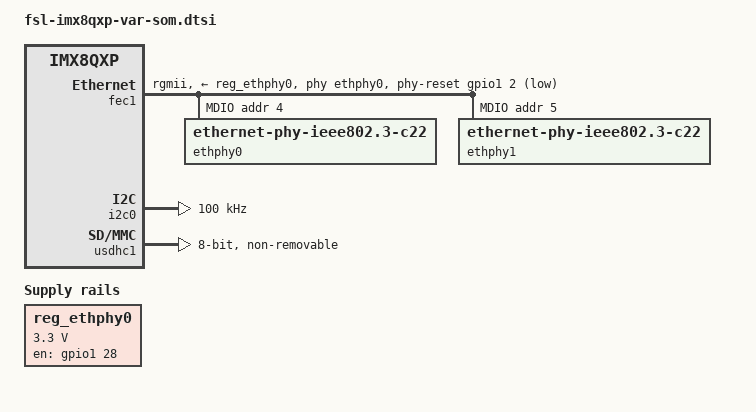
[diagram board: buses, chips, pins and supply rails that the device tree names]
// SPDX-License-Identifier: GPL-2.0+
/*
 * Copyright 2017-2018 NXP
 * Copyright 2019-2020 Variscite Ltd.
 */

/dts-v1/;

#include "fsl-imx8qxp.dtsi"

/ {
	regulators {
		compatible = "simple-bus";
		#address-cells = <1>;
		#size-cells = <0>;

		reg_ethphy0: regulator-ethphy0 {
			compatible = "regulator-fixed";
			regulator-name = "reg_ethphy0";
			regulator-min-microvolt = <3300000>;
			regulator-max-microvolt = <3300000>;
			gpio = <&gpio1 28 GPIO_ACTIVE_HIGH>;
			enable-active-high;
			regulator-off-in-suspend;
		};
	};
};

&A35_0 {
	u-boot,dm-pre-reloc;
};

&fec1 {
	pinctrl-names = "default";
	pinctrl-0 = <&pinctrl_fec1>;
	phy-mode = "rgmii";
	phy-handle = <&ethphy0>;
	fsl,ar8031-phy-fixup;
	fsl,magic-packet;
	status = "okay";
	phy-supply = <&reg_ethphy0>;
	phy-reset-gpios = <&gpio1 2 GPIO_ACTIVE_LOW>;

	mdio {
		#address-cells = <1>;
		#size-cells = <0>;

		ethphy0: ethernet-phy@4 {
			compatible = "ethernet-phy-ieee802.3-c22";
			reg = <4>;
		};
		ethphy1: ethernet-phy@5 {
			compatible = "ethernet-phy-ieee802.3-c22";
			reg = <5>;
		};
	};
};

&i2c0 {
	clock-frequency = <100000>;
	pinctrl-names = "default";
	pinctrl-0 = <&pinctrl_lpi2c0>;
	status = "okay";
};

&iomuxc {
	pinctrl-names = "default";
	pinctrl-0 = <&pinctrl_hog>;

	imx8qxp-var-som {
		pinctrl_fec1: fec1grp {
			fsl,pins = <
				SC_P_COMP_CTL_GPIO_1V8_3V3_ENET_ENETB0_PAD	0x000014a0
				SC_P_COMP_CTL_GPIO_1V8_3V3_ENET_ENETB1_PAD	0x000014a0
				SC_P_ENET0_MDC_CONN_ENET0_MDC			0x06000020
				SC_P_ENET0_MDIO_CONN_ENET0_MDIO			0x06000020
				SC_P_ENET0_RGMII_TX_CTL_CONN_ENET0_RGMII_TX_CTL	0x00000061
				SC_P_ENET0_RGMII_TXC_CONN_ENET0_RGMII_TXC	0x00000061
				SC_P_ENET0_RGMII_TXD0_CONN_ENET0_RGMII_TXD0	0x00000061
				SC_P_ENET0_RGMII_TXD1_CONN_ENET0_RGMII_TXD1	0x00000061
				SC_P_ENET0_RGMII_TXD2_CONN_ENET0_RGMII_TXD2	0x00000061
				SC_P_ENET0_RGMII_TXD3_CONN_ENET0_RGMII_TXD3	0x00000061
				SC_P_ENET0_RGMII_RXC_CONN_ENET0_RGMII_RXC	0x00000061
				SC_P_ENET0_RGMII_RX_CTL_CONN_ENET0_RGMII_RX_CTL	0x00000061
				SC_P_ENET0_RGMII_RXD0_CONN_ENET0_RGMII_RXD0	0x00000061
				SC_P_ENET0_RGMII_RXD1_CONN_ENET0_RGMII_RXD1	0x00000061
				SC_P_ENET0_RGMII_RXD2_CONN_ENET0_RGMII_RXD2	0x00000061
				SC_P_ENET0_RGMII_RXD3_CONN_ENET0_RGMII_RXD3	0x00000061
				SC_P_MIPI_DSI0_GPIO0_01_LSIO_GPIO1_IO28		0x06000021
				SC_P_SPI2_SDI_LSIO_GPIO1_IO02			0x06000021
			>;
		};

		pinctrl_hog: hoggrp {
			fsl,pins = <
				SC_P_COMP_CTL_GPIO_1V8_3V3_GPIORHB_PAD		0x000514a0
			>;
		};

		pinctrl_lpi2c0: lpi2c0grp {
			fsl,pins = <
				SC_P_MIPI_CSI0_GPIO0_00_ADMA_I2C0_SCL		0x06000021
				SC_P_MIPI_CSI0_GPIO0_01_ADMA_I2C0_SDA		0x06000021
			>;
		};

		pinctrl_usdhc1: usdhc1grp {
			fsl,pins = <
				SC_P_EMMC0_CLK_CONN_EMMC0_CLK			0x06000041
				SC_P_EMMC0_CMD_CONN_EMMC0_CMD			0x00000021
				SC_P_EMMC0_DATA0_CONN_EMMC0_DATA0		0x00000021
				SC_P_EMMC0_DATA1_CONN_EMMC0_DATA1		0x00000021
				SC_P_EMMC0_DATA2_CONN_EMMC0_DATA2		0x00000021
				SC_P_EMMC0_DATA3_CONN_EMMC0_DATA3		0x00000021
				SC_P_EMMC0_DATA4_CONN_EMMC0_DATA4		0x00000021
				SC_P_EMMC0_DATA5_CONN_EMMC0_DATA5		0x00000021
				SC_P_EMMC0_DATA6_CONN_EMMC0_DATA6		0x00000021
				SC_P_EMMC0_DATA7_CONN_EMMC0_DATA7		0x00000021
				SC_P_EMMC0_STROBE_CONN_EMMC0_STROBE		0x00000041
			>;
		};
	};
};

&usdhc1 {
	pinctrl-names = "default", "state_100mhz", "state_200mhz";
	pinctrl-0 = <&pinctrl_usdhc1>;
	pinctrl-1 = <&pinctrl_usdhc1>;
	pinctrl-2 = <&pinctrl_usdhc1>;
	bus-width = <8>;
	non-removable;
	status = "okay";
};
